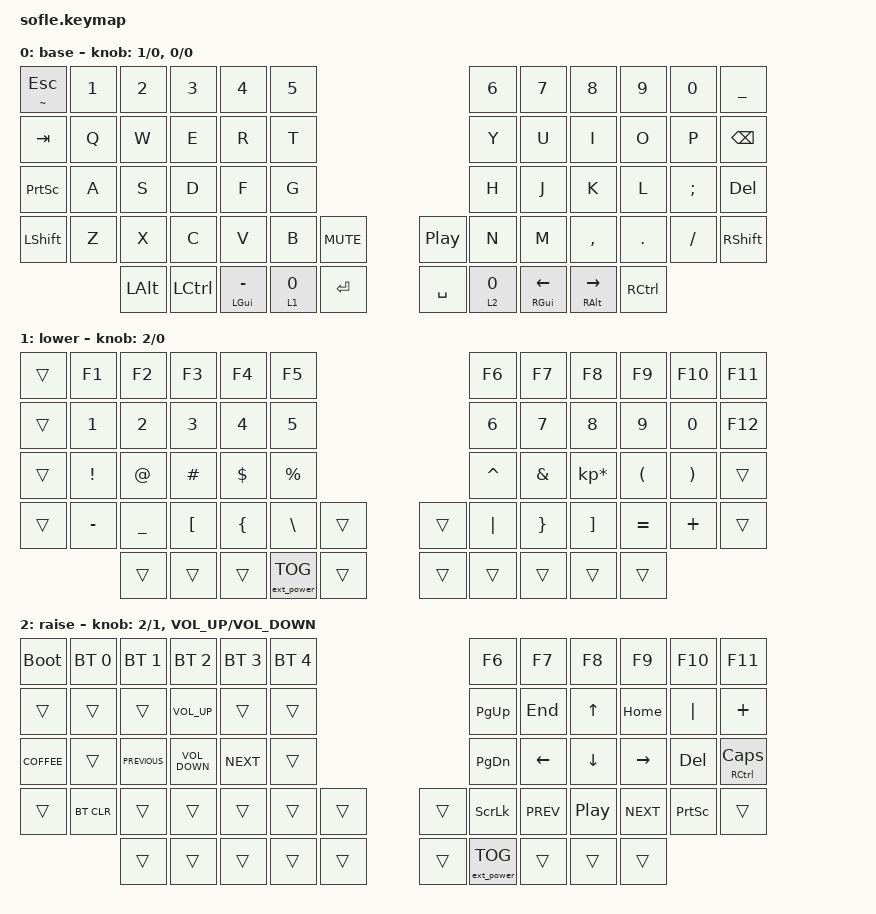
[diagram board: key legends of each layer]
/*
 * Copyright (c) 2020 The ZMK Contributors
 *
 * SPDX-License-Identifier: MIT
 */

#include <behaviors.dtsi>

&nice_view_spi {
    cs-gpios = <&pro_micro 0 GPIO_ACTIVE_HIGH>;
};

#define BASE 0
#define LOWER 1
#define RAISE 2

#include <behaviors.dtsi>
#include <dt-bindings/zmk/keys.h>
#include <dt-bindings/zmk/ext_power.h>
#include <dt-bindings/zmk/bt.h>

/ {
    behaviors {
        layer_rotate: layer_rotate {
            compatible = "zmk,behavior-sensor-rotate-var";
            label = "LAYER_ROTATE";
            #sensor-binding-cells = <2>;
            bindings =
                <&to>,
                <&to>;
        };
    };

    keymap {
        compatible = "zmk,keymap";

        default_layer {
            label = "base";

            // ------------------------------------------------------------------------------------------------------------
            // |  `    |  1  |  2  |  3   |  4   |  5   |                   |  6   |  7    |  8    |  9   |   0   |   \   |
            // |  TAB  |  Q  |  W  |  E   |  R   |  T   |                   |  Y   |  U    |  I    |  O   |   P   | BKSPC |
            // | C/ESC |  A  |  S  |  D   |  F   |  G   |                   |  H   |  J    |  K    |  L   |   ;   |  C/'  |
            // | SHIFT |  Z  |  X  |  C   |  V   |  B   |  MUTE  |  | PLAY  |  N   |  M    |  ,    |  .   |   /   | SHIFT |
            //               | CAPS| ALT  | GUI/-| SPACE|LOWER/[ |  |RAISE/]| ENTER|  GUI/=|  ALT  | CTRL |

            bindings = <
&mt TILDE ESCAPE  &kp N1        &kp N2            &kp N3          &kp N4   &kp N5                          &kp N6               &kp N7                &kp N8     &kp N9    &kp N0  &kp UNDERSCORE
         &kp TAB   &kp Q         &kp W             &kp E           &kp R    &kp T                           &kp Y                &kp U                 &kp I      &kp O     &kp P   &kp BACKSPACE
 &kp PRINTSCREEN   &kp A         &kp S             &kp D           &kp F    &kp G                           &kp H                &kp J                 &kp K      &kp L  &kp SEMI      &kp DELETE
       &kp LSHFT   &kp Z         &kp X             &kp C           &kp V    &kp B  &kp C_MUTE   &kp C_PP    &kp N                &kp M             &kp COMMA    &kp DOT  &kp FSLH       &kp RSHFT
                          &kp LEFT_ALT  &kp LEFT_CONTROL  &mt LGUI MINUS  &lt 1 0  &kp RETURN  &kp SPACE  &lt 2 0  &mt RGUI LEFT_ARROW  &mt RALT RIGHT_ARROW  &kp RCTRL
            >;

            sensor-bindings =
                <&layer_rotate 1 0>,
                <&inc_dec_kp 0 0>;
        };

        lower_layer {
            label = "lower";

            // ------------------------------------------------------------------------------------------------------------
            // |       |  F1 |  F2 |  F3  |  F4  |  F5  |                   |  F6  |  F7   |  F8   |  F9  |  F10  |  F11  |
            // |       |   1 |   2 |   3  |   4  |   5  |                   |   6  |   7   |   8   |   9  |    0  |  F12  |
            // |       |  !  |  @  |  #   |  $   |  %   |                   |  ^   |  &    |  *    |  (   |   )   |       |
            // |       |  -  |  _  |  [   |  {   |  \   |        |  |       |  |   |  }    |  ]    |  =   |   +   |       |
            //               |     |      |      |      |        |  |       |      |       |       |      |

            bindings = <
&trans     &kp F1     &kp F2    &kp F3    &kp F4             &kp F5                     &kp F6    &kp F7           &kp F8     &kp F9   &kp F10  &kp F11
&trans     &kp N1     &kp N2    &kp N3    &kp N4             &kp N5                     &kp N6    &kp N7           &kp N8     &kp N9    &kp N0  &kp F12
&trans   &kp EXCL     &kp AT  &kp HASH  &kp DLLR          &kp PRCNT                  &kp CARET  &kp AMPS  &kp KP_MULTIPLY   &kp LPAR  &kp RPAR   &trans
&trans  &kp MINUS  &kp UNDER  &kp LBKT  &kp LBRC           &kp BSLH  &trans  &trans   &kp PIPE  &kp RBRC         &kp RBKT  &kp EQUAL  &kp PLUS   &trans
                      &trans    &trans    &trans  &ext_power EP_TOG  &trans  &trans     &trans    &trans           &trans     &trans
            >;

            sensor-bindings = <&layer_rotate 2 0>;
        };

        raise_layer {
            label = "raise";

            // ------------------------------------------------------------------------------------------------------------
            // |     |  F1  |  F2  |  F3   |  F4   |  F5  |                |  F6  |  F7  |  F8   |  F9  |  F10  |  F11  |
            // |     | BT1  | BT2  |  BT3  |  BT4  |  BT5 |                | PGUP |  END |   ^   | HOME |  INS  |  F12  |
            // |     |      |      |       |       |      |                | PGDN |   <- |   v   | ->   |  DEL  | C/CAPS|
            // |     |BTCLR | HUD  | HUI   |  SAD  |  SAI |      |  |      | SCRL | PRVS | PLAY  | NEXT |  PSCR |       |
            //              |      |       |       |      |      |  |      |      |      |       |      |

            bindings = <
 &bootloader  &bt BT_SEL 0    &bt BT_SEL 1       &bt BT_SEL 2  &bt BT_SEL 3  &bt BT_SEL 4                             &kp F6      &kp F7    &kp F8      &kp F9    &kp F10         &kp F11
      &trans        &trans          &trans    &kp C_VOLUME_UP        &trans        &trans                          &kp PG_UP     &kp END    &kp UP    &kp HOME   &kp PIPE        &kp PLUS
&kp K_COFFEE        &trans  &kp C_PREVIOUS  &kp C_VOLUME_DOWN    &kp C_NEXT        &trans                          &kp PG_DN    &kp LEFT  &kp DOWN   &kp RIGHT    &kp DEL  &mt RCTRL CLCK
      &trans    &bt BT_CLR          &trans             &trans        &trans        &trans  &trans  &trans           &kp SLCK  &kp C_PREV  &kp C_PP  &kp C_NEXT  &kp PSCRN          &trans
                                    &trans             &trans        &trans        &trans  &trans  &trans  &ext_power EP_TOG      &trans    &trans      &trans
            >;

            sensor-bindings =
                <&layer_rotate 2 1>,
                <&inc_dec_kp C_VOLUME_UP C_VOLUME_DOWN>;
        };
    };
};
